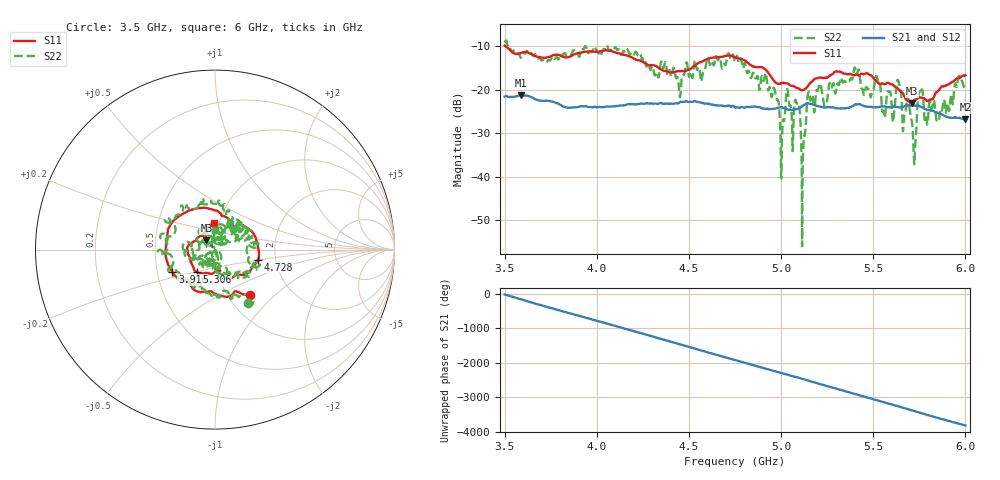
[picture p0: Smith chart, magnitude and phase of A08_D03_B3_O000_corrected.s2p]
! Created with skrf 1.9.0 (http://scikit-rf.org).
# Hz S RI R 50.0
!freq ReS11 ImS11 ReS21 ImS21 ReS12 ImS12 ReS22 ImS22
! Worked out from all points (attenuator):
!   1601 points, 3.5 GHz to 6 GHz, reference 50 ohm
!   highest |S21| = -21.25 dB at 3.589 GHz (marker M1); lowest = -26.8 dB at 6 GHz (marker M2)
!   lowest |S11| = -23.1 dB at 5.708 GHz (marker M3), VSWR 1.15, Z = 45.2 + j4.64 ohm
!   |S11| at or under -10 dB: 3.506 GHz to end of sweep
!   |S22| runs from -56.0 to -8.6 dB; largest |S21 - S12| = 0.001
!   S11 on the Smith chart (normalised r, x): 3.5 GHz: 1.26, -0.72; 3.916 GHz: 0.60, -0.16; 4.728 GHz: 1.62, -0.19; 5.306 GHz: 0.79, -0.21; 6 GHz: 0.94, +0.28
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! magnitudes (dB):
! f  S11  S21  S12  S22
! 3.5 GHz  -9.8  -21.6  -21.6  -9.1
! 3.589 GHz  -11.5  -21.2  -21.2  -12.6
! 3.916 GHz  -11.4  -23.8  -23.8  -11.0
! 3.917 GHz  -11.4  -23.8  -23.8  -10.8
! 4.334 GHz  -14.9  -23.3  -23.2  -17.2
! 4.728 GHz  -12.2  -23.9  -23.8  -12.8
! 4.75 GHz  -12.5  -24.1  -24.0  -13.4
! 4.969 GHz  -18.3  -24.3  -24.3  -20.7
! 5.006 GHz  -18.4  -24.0  -24.0  -29.7
! 5.034 GHz  -18.5  -24.5  -24.4  -19.9
! 5.088 GHz  -19.6  -24.4  -24.4  -23.0
! 5.12 GHz  -20.0  -23.6  -23.5  -33.6
! 5.145 GHz  -19.1  -23.1  -23.1  -21.0
! 5.167 GHz  -18.1  -23.3  -23.3  -21.3
! 5.306 GHz  -15.8  -24.3  -24.2  -18.6
! 5.584 GHz  -18.5  -24.0  -24.0  -20.3
! 5.639 GHz  -19.9  -24.0  -24.0  -18.4
! 5.708 GHz  -23.1  -23.6  -23.6  -26.9
! 5.727 GHz  -22.2  -23.6  -23.6  -33.6
! 5.756 GHz  -21.7  -23.9  -23.8  -21.0
! 5.85 GHz  -20.3  -25.3  -25.2  -27.0
! 6 GHz  -16.7  -26.8  -26.7  -19.3
